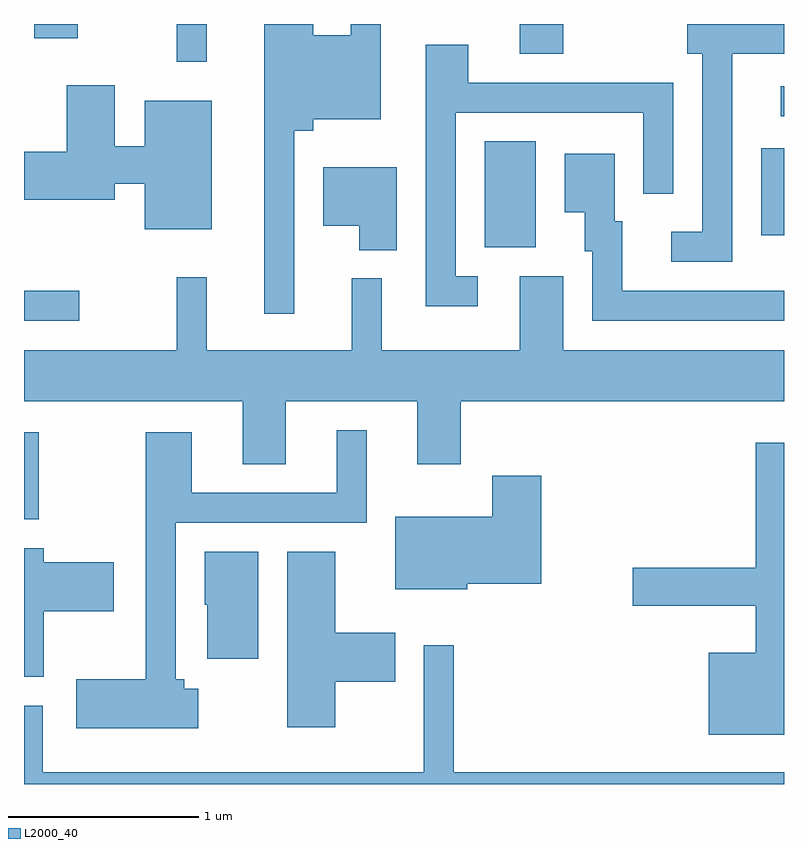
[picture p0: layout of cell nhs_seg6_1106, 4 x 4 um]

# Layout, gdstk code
import gdstk
lib = gdstk.Library(unit=1e-6, precision=1e-09)
def R(c, l, rs):  # rectangles x0, y0, x1, y1
    for r in rs: c.add(gdstk.rectangle(r[:2], r[2:], *l))
def P(c, l, *ps):  # polygons
    for p in ps: c.add(gdstk.Polygon(p, *l))
L2000_40 = (2000, 40)

nhs_seg6_1106 = lib.new_cell('nhs_seg6_1106')
R(nhs_seg6_1106, L2000_40, [(217.611,1631.556,217.689,1632.014), (217.611,1632.601,217.903,1632.759), (220.036,1632.986,220.304,1633.544), (221.491,1633.051,221.611,1633.509), (221.593,1633.676,221.611,1633.834), (218.416,1633.963,218.574,1634.162), (220.221,1634.006,220.449,1634.162), (217.666,1634.086,217.894,1634.162)])
P(nhs_seg6_1106, L2000_40, [(221.339,1634.006),(221.611,1634.006),(221.611,1634.162),(221.103,1634.162),(221.103,1634.006),(221.181,1634.006),(221.181,1633.069),(221.018,1633.069),(221.018,1632.911),(221.339,1632.911)],
  [(219.034,1633.601),(219.134,1633.601),(219.134,1633.661),(219.489,1633.661),(219.489,1634.162),(219.331,1634.162),(219.331,1634.104),(219.134,1634.104),(219.134,1634.162),(218.876,1634.162),(218.876,1632.638),(219.034,1632.638)],
  [(219.998,1632.834),(219.884,1632.834),(219.884,1633.696),(220.871,1633.696),(220.871,1633.268),(221.029,1633.268),(221.029,1633.854),(219.949,1633.854),(219.949,1634.054),(219.726,1634.054),(219.726,1632.676),(219.998,1632.676)],
  [(218.599,1633.759),(218.246,1633.759),(218.246,1633.519),(218.089,1633.519),(218.089,1633.839),(217.836,1633.839),(217.836,1633.489),(217.611,1633.489),(217.611,1633.236),(218.089,1633.236),(218.089,1633.321),(218.246,1633.321),(218.246,1633.081),(218.599,1633.081)],
  [(221.611,1632.759),(220.759,1632.759),(220.759,1633.124),(220.719,1633.124),(220.719,1633.479),(220.456,1633.479),(220.456,1633.171),(220.561,1633.171),(220.561,1632.966),(220.601,1632.966),(220.601,1632.601),(221.611,1632.601)],
  [(219.574,1633.409),(219.186,1633.409),(219.186,1633.101),(219.376,1633.101),(219.376,1632.971),(219.574,1632.971)],
  [(218.989,1632.176),(219.681,1632.176),(219.681,1631.846),(219.909,1631.846),(219.909,1632.176),(221.611,1632.176),(221.611,1632.444),(220.449,1632.444),(220.449,1632.834),(220.221,1632.834),(220.221,1632.444),(219.494,1632.444),(219.494,1632.823),(219.336,1632.823),(219.336,1632.444),(218.574,1632.444),(218.574,1632.828),(218.416,1632.828),(218.416,1632.444),(217.611,1632.444),(217.611,1632.176),(218.761,1632.176),(218.761,1631.846),(218.989,1631.846)],
  [(218.529,1630.664),(218.454,1630.664),(218.454,1630.714),(218.409,1630.714),(218.409,1631.536),(219.414,1631.536),(219.414,1632.023),(219.256,1632.023),(219.256,1631.694),(218.494,1631.694),(218.494,1632.014),(218.251,1632.014),(218.251,1630.714),(217.886,1630.714),(217.886,1630.456),(218.529,1630.456)],
  [(221.611,1631.958),(221.461,1631.958),(221.461,1631.299),(220.816,1631.299),(220.816,1631.101),(221.461,1631.101),(221.461,1630.854),(221.216,1630.854),(221.216,1630.421),(221.611,1630.421)],
  [(219.944,1631.216),(220.334,1631.216),(220.334,1631.784),(220.076,1631.784),(220.076,1631.569),(219.566,1631.569),(219.566,1631.186),(219.944,1631.186)],
  [(217.714,1631.071),(218.084,1631.071),(218.084,1631.329),(217.714,1631.329),(217.714,1631.404),(217.611,1631.404),(217.611,1630.726),(217.714,1630.726)],
  [(219.249,1630.701),(219.564,1630.701),(219.564,1630.959),(219.249,1630.959),(219.249,1631.384),(218.996,1631.384),(218.996,1630.461),(219.249,1630.461)],
  [(218.844,1631.384),(218.561,1631.384),(218.561,1631.105),(218.576,1631.105),(218.576,1630.821),(218.844,1630.821)],
  [(221.611,1630.224),(219.874,1630.224),(219.874,1630.893),(219.716,1630.893),(219.716,1630.224),(217.709,1630.224),(217.709,1630.574),(217.611,1630.574),(217.611,1630.162),(221.611,1630.162)])

lib.write_gds('nhs_seg6_1106.gds')
